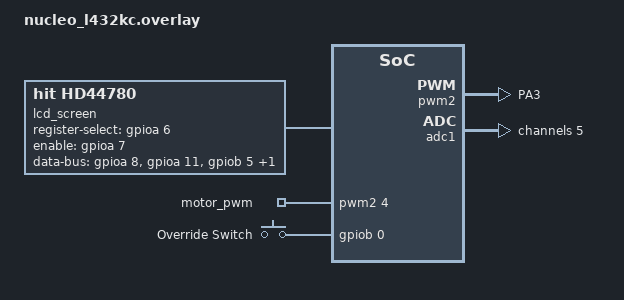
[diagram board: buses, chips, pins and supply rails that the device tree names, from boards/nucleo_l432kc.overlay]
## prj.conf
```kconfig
CONFIG_AUXDISPLAY=y
CONFIG_ADC=y
CONFIG_PWM=y
CONFIG_GPIO=y
```

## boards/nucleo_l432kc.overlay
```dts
/ {
    aliases {
        pwm-motor = &motor_pwm;
        override-btn = &override_sw;
    };
    lcd_screen: hd44780 {
        compatible = "hit,hd44780";
        mode = <4>;
        register-select-gpios = <&gpioa 6 GPIO_ACTIVE_HIGH>;
        enable-gpios = <&gpioa 7 GPIO_ACTIVE_HIGH>;
        data-bus-gpios = <0>,
                         <0>,
                         <0>,
                         <0>,
                         <&gpioa 8 GPIO_ACTIVE_HIGH>,
                         <&gpioa 11 GPIO_ACTIVE_HIGH>,
                         <&gpiob 5 GPIO_ACTIVE_HIGH>,
                         <&gpiob 4 GPIO_ACTIVE_HIGH>;
        columns = <16>;
        rows = <2>;
    }; 
    pwmleds {
        compatible = "pwm-leds";
        status = "okay";
        motor_pwm: motor_pwm {
            pwms = <&pwm2 4 PWM_MSEC(20) PWM_POLARITY_NORMAL>;
        };
    };
    gpio_inputs {
        compatible = "gpio-keys";
        override_sw: override_switch {
            gpios = <&gpiob 0 (GPIO_PULL_DOWN | GPIO_ACTIVE_HIGH)>; 
            label = "Override Switch";
        };
    };
};
&gpioa {
    status = "okay";
};
&gpiob {
    status = "okay";
};
&pwm2 {
    status = "okay";
    pinctrl-0 = <&pwm2_custom>;
    pinctrl-names = "default";
};
&pinctrl {
    pwm2_custom: pwm2_custom {
        pinmux = <STM32_PINMUX('A', 3, AF1)>;
        bias-pull-up;
    };
};
&adc1 {
    status = "okay";
    st,adc-clock-source = "SYNC";
    st,adc-prescaler = <1>;
    #address-cells = <1>;
    #size-cells = <0>;
    
    channel_5: channel@5 {
        reg = <5>;
        zephyr,gain = "ADC_GAIN_1";
        zephyr,reference = "ADC_REF_INTERNAL";
        zephyr,acquisition-time = <ADC_ACQ_TIME_DEFAULT>;
        zephyr,resolution = <12>;
    };
};
```

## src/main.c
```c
/*
Program 11: Create a cooling fan

1. Connect Pin-1 to VDD (3.3V) and Pin-3 to GND. Pin-2 should be connected to one of
your MCU’s Analogue-to-Digital Converters (ADC), i.e. PA0.

2. Create an appropriate algorithm to convert the ADC input to temperature, using the
figure above.

3. Wire appropriately your LCD display and output the measured temperature on the
screen.

4. Use a PWM output and control the duty-cycle based on the temperature. We would like
for any temperatures below 35°C that the duty-cycle is 0%, i.e. the pulse width is 0. 
For temperatures >35°C and up to 100°C the duty cycle should change linearly from 
0% to 100%. Use appropriate frequency/period for the PWM (see your lecture notes).

5. Implement a motor (see Milestone 10). You will need a power supply, a transistor, a
diode, a gate resistor and pull-down resistor. Do not turn on the power supply unless
your circuit is checked by your tutor.

6. Use the soldering iron to induce heat on your temperature sensor. Adjust the soldering
iron temperature to 90°C. GENTLY TOUCH THE SOLDERING IRON ON THE SENSOR.
Check on the LCD that the temperature is actually increasing and that once we exceed
35°C your motor starts to work.

7. (Advanced task) Now implement a pull-down switch together with an interrupt, so
that the user can override the system. When the MCU receives logic 1 from the 
pull-down switch, the motor should start working on a 50% duty cycle and for 5 seconds,
no matter what the temperature is. After the 5 seconds elapse, the fan should switch off
and control of the fan should return to the temperature sensor.

Course: 1064
Author: Daniel Mui
Date: 16/2/2026
 */

 //import tarrifs
#include <zephyr/kernel.h>
#include <zephyr/device.h>
#include <zephyr/drivers/gpio.h>
#include <zephyr/drivers/adc.h>
#include <zephyr/drivers/pwm.h>
#include <zephyr/drivers/auxdisplay.h>
#include <stdio.h>
#include <string.h>

// Devices<--Overlay
static const struct pwm_dt_spec motor = PWM_DT_SPEC_GET(DT_ALIAS(pwm_motor));
static const struct device *adc_dev = DEVICE_DT_GET(DT_NODELABEL(adc1));
static const struct device *lcd_dev = DEVICE_DT_GET(DT_NODELABEL(lcd_screen));
static const struct gpio_dt_spec button = GPIO_DT_SPEC_GET(DT_ALIAS(override_btn), gpios);

// ADC Cconf
static const struct adc_channel_cfg channel_5_cfg = {
    .gain = ADC_GAIN_1,
    .reference = ADC_REF_INTERNAL,
    .acquisition_time = ADC_ACQ_TIME_DEFAULT,
    .channel_id = 5, //ch.5
};

int16_t sample_buffer;
struct adc_sequence sequence = {
    .channels = BIT(5),
    .buffer = &sample_buffer,
    .buffer_size = sizeof(sample_buffer),
    .resolution = 12,
};

//interupt variables
volatile bool override_active = false;
int64_t override_end_time = 0;
struct gpio_callback button_cb_data;

// 7
void button_pressed(const struct device *dev, struct gpio_callback *cb, uint32_t pins)
{
    override_active = true;
    override_end_time = k_uptime_get() + 5000; // Set timer for 5 seconds
}

int main(void) //main function
{
    adc_channel_setup(adc_dev, &channel_5_cfg);
    auxdisplay_clear(lcd_dev);
    
    // 7
    gpio_pin_configure_dt(&button, GPIO_INPUT);
    gpio_pin_interrupt_configure_dt(&button, GPIO_INT_EDGE_TO_ACTIVE);
    gpio_init_callback(&button_cb_data, button_pressed, BIT(button.pin));
    gpio_add_callback(button.port, &button_cb_data);
    char line_buffer[16];
    uint32_t period = 1000000; // 1kHz
    uint32_t pulse_width = 0;

    while (1) { //main loop
        // 1
        adc_read(adc_dev, &sequence);
        int32_t raw_value = sample_buffer;

        // 2
        int32_t voltage_mv = (raw_value * 3300) / 4095;
        int32_t temp_c = voltage_mv / 20;

        // 7
        bool override_now = false;
        if (override_active) {
            if (k_uptime_get() > override_end_time) {
                override_active = false; 
            } else {
                override_now = true;
            }
        }

        if (override_now) {
            // 7
            pulse_width = period / 2;
        } 
        else {
            // 4
            if (temp_c < 35) {
                pulse_width = 0;
            } 
            else if (temp_c >= 100) {
                pulse_width = period;
            } 
            else {
                int32_t temp_offset = temp_c - 35;
                pulse_width = (temp_offset * period) / 65;
            }
        }

        // 5
        pwm_set_dt(&motor, period, pulse_width);

        // 3
        auxdisplay_cursor_position_set(lcd_dev, AUXDISPLAY_POSITION_ABSOLUTE, 0, 0);
        snprintf(line_buffer, sizeof(line_buffer), "Temp: %d C    ", temp_c);
        auxdisplay_write(lcd_dev, (uint8_t *)line_buffer, strlen(line_buffer));

        // 6
        k_sleep(K_MSEC(200));
    }
    return 0; //we write safe code frfr 
}
```
